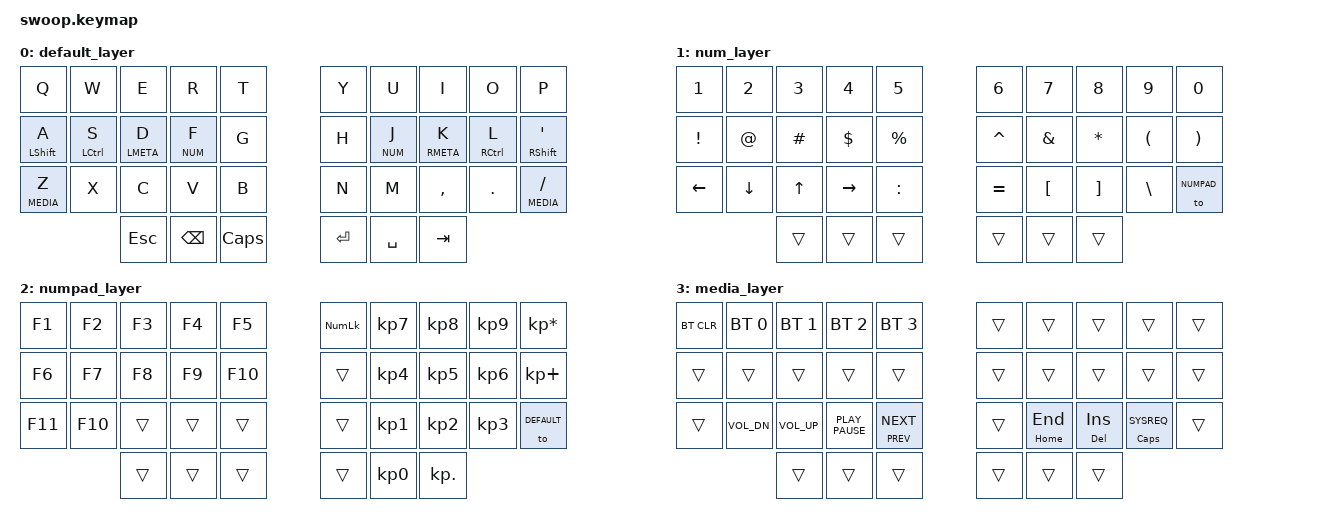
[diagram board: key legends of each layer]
#include <behaviors.dtsi>
#include <dt-bindings/zmk/keys.h>
#include <dt-bindings/zmk/bt.h>
#include <dt-bindings/zmk/outputs.h>

#define ___ &trans

#define DEFAULT 0
#define NUM     1
#define NUMPAD  2
#define MEDIA   3

&caps_word {
    continue-list = <UNDERSCORE MINUS>;
};

/ {
    behaviors {
        hm: homerow_mods {
            compatible = "zmk,behavior-hold-tap";
            #binding-cells = <2>;
            tapping-term-ms = <200>;
            quick-tap-ms = <100>;
            flavor = "balanced";
            bindings = <&kp>, <&kp>;
        };
    };
};

/ {
    keymap {
        compatible = "zmk,keymap";

        default_layer {
            bindings = <
            // ╭────────────────┬────────────────┬────────────────┬────────────────┬────────────────────────╮ ╭────────────────┬────────────────┬────────────────┬────────────────┬────────────────╮
                &kp Q            &kp W            &kp E            &kp R            &kp T                      &kp Y            &kp U            &kp I            &kp O            &kp P
            // ├────────────────┼────────────────┼────────────────┼────────────────┼────────────────────────┤ ├────────────────┼────────────────┼────────────────┼────────────────┼────────────────┤
                &hm LSHIFT A     &hm LCTL S       &hm LMETA D      &lt NUM F        &kp G                      &kp H            &lt NUM J        &hm RMETA K      &hm RCTL L       &hm RSHIFT SQT
            // ├────────────────┼────────────────┼────────────────┼────────────────┼────────────────────────┤ ├────────────────┼────────────────┼────────────────┼────────────────┼────────────────┤
                &lt MEDIA Z      &kp X            &kp C            &kp V            &kp B                      &kp N            &kp M            &kp COMMA        &kp DOT          &lt MEDIA FSLH
            // ╰────────────────┴────────────────┴────────────────┼────────────────┼────────────────────────┤ ├────────────────┼────────────────┼────────────────┼────────────────┼────────────────╯
                                                  &kp ESC          &kp BSPC         &kp CAPSLOCK               &kp ENTER         &kp SPACE       &kp TAB
            //                                   ╰────────────────┴────────────────┴────────────────────────╯ ╰────────────────┴────────────────┴────────────────╯          
            >;
        };

        num_layer {
            bindings = <
            // ╭────────────────┬────────────────┬────────────────┬────────────────┬────────────────────────╮ ╭────────────────┬────────────────┬────────────────┬────────────────┬────────────────╮
                &kp NUMBER_1     &kp NUMBER_2     &kp NUMBER_3     &kp NUMBER_4     &kp NUMBER_5               &kp NUMBER_6     &kp NUMBER_7     &kp NUMBER_8     &kp NUMBER_9     &kp NUMBER_0
            // ├────────────────┼────────────────┼────────────────┼────────────────┼────────────────────────┤ ├────────────────┼────────────────┼────────────────┼────────────────┼────────────────┤
                &kp EXCL         &kp AT           &kp POUND        &kp DLLR         &kp PRCNT                  &kp CARET        &kp AMPS         &kp STAR         &kp LPAR         &kp RPAR
            // ├────────────────┼────────────────┼────────────────┼────────────────┼────────────────────────┤ ├────────────────┼────────────────┼────────────────┼────────────────┼────────────────┤
                &kp LEFT         &kp DOWN         &kp UP           &kp RIGHT        &kp COLON                  &kp EQUAL        &kp LBKT         &kp RBKT         &kp BSLH         &to NUMPAD
            // ╰────────────────┴────────────────┴────────────────┼────────────────┼────────────────────────┤ ├────────────────┼────────────────┼────────────────┼────────────────┼────────────────╯    
                                                  ___              ___              ___                        ___              ___              ___
            //                                   ╰────────────────┴────────────────┴────────────────────────╯ ╰────────────────┴────────────────┴────────────────╯             
            >;
        };

        numpad_layer {
            bindings = <
            // ╭────────────────┬────────────────┬────────────────┬────────────────┬────────────────────────╮ ╭────────────────┬────────────────┬────────────────┬────────────────┬────────────────╮
                &kp F1           &kp F2           &kp F3           &kp F4           &kp F5                     &kp KP_NUMLOCK   &kp KP_N7        &kp KP_N8        &kp KP_N9        &kp KP_ASTERISK
            // ├────────────────┼────────────────┼────────────────┼────────────────┼────────────────────────┤ ├────────────────┼────────────────┼────────────────┼────────────────┼────────────────┤
                &kp F6           &kp F7           &kp F8           &kp F9           &kp F10                    ___              &kp KP_N4        &kp KP_N5        &kp KP_N6        &kp KP_PLUS
            // ├────────────────┼────────────────┼────────────────┼────────────────┼────────────────────────┤ ├────────────────┼────────────────┼────────────────┼────────────────┼────────────────┤    
                &kp F11          &kp F10          ___              ___              ___                        ___              &kp KP_N1        &kp KP_N2        &kp KP_N3        &to DEFAULT
            // ╰────────────────┴────────────────┴────────────────┼────────────────┼────────────────────────┤ ├────────────────┼────────────────┼────────────────┼────────────────┼────────────────╯    
                                                  ___              ___              ___                        ___              &kp KP_N0        &kp KP_DOT
            //                                   ╰────────────────┴────────────────┴────────────────────────╯ ╰────────────────┴────────────────┴────────────────╯             
            >;
        };

        media_layer {
            bindings = <
            // ╭────────────────┬────────────────┬────────────────┬────────────────┬────────────────────────╮ ╭────────────────┬────────────────┬────────────────┬────────────────────┬────────────────╮
                &bt BT_CLR       &bt BT_SEL 0     &bt BT_SEL 1     &bt BT_SEL 2     &bt BT_SEL 3               ___              ___              ___              ___                  ___
            // ├────────────────┼────────────────┼────────────────┼────────────────┼────────────────────────┤ ├────────────────┼────────────────┼────────────────┼────────────────────┼────────────────┤    
                ___              ___              ___              ___              ___                        ___              ___              ___              ___                  ___
            // ├────────────────┼────────────────┼────────────────┼────────────────┼────────────────────────┤ ├────────────────┼────────────────┼────────────────┼────────────────────┼────────────────┤    
                ___              &kp K_VOL_DN     &kp K_VOL_UP     &kp K_PLAY_PAUSE &mt K_PREV K_NEXT          ___              &mt HOME END     &mt DEL INS      &mt CAPSLOCK SYSREQ  ___
            // ╰────────────────┴────────────────┴────────────────┼────────────────┼────────────────────────┤ ├────────────────┼────────────────┼────────────────┼────────────────┼────────────────╯    
                                                  ___              ___              ___                        ___              ___              ___
            //                                   ╰────────────────┴────────────────┴────────────────────────╯ ╰────────────────┴────────────────┴────────────────╯             
            >;
        };

    };
};


/ {
    macros {
        macro_ae: macro_ae {
            compatible = "zmk,behavior-macro";
            #binding-cells = <0>;
            bindings = <&kp RALT>, <&kp LS(Z)>, <&kp A>;
        };
        macro_oe: macro_oe {
            compatible = "zmk,behavior-macro";
            #binding-cells = <0>;
            bindings = <&kp RALT>, <&kp LS(Z)>, <&kp O>;
        };
        macro_ue: macro_ue {
            compatible = "zmk,behavior-macro";
            #binding-cells = <0>;
            bindings = <&kp RALT>, <&kp LS(Z)>, <&kp U>;
        };
        macro_ss: macro_ss {
            compatible = "zmk,behavior-macro";
            #binding-cells = <0>;
            bindings = <&kp RALT>, <&kp SEMI>, <&kp SEMI>;
        };
    };
};

/ {
    combos {
        compatible = "zmk,combos";
        combo_enter {
            timeout-ms = <50>;
            key-positions = <12 13>;
            bindings = <&kp RETURN>;
        };
        combo_tab {
            timeout-ms = <50>;
            key-positions = <22 23>;
            bindings = <&kp TAB>;
        };
        combo_ae {
            timeout-ms = <50>;
            key-positions = <2 10>;
            bindings = <&macro_ae>;
        };
        combo_oe {
            timeout-ms = <50>;
            key-positions = <2 11>;
            bindings = <&macro_oe>;
        };
        combo_ue {
            timeout-ms = <50>;
            key-positions = <2 13>;
            bindings = <&macro_ue>;
        };
        combo_ss {
            timeout-ms = <50>;
            key-positions = <2 19>;
            bindings = <&macro_ss>;
        };
    };
};
